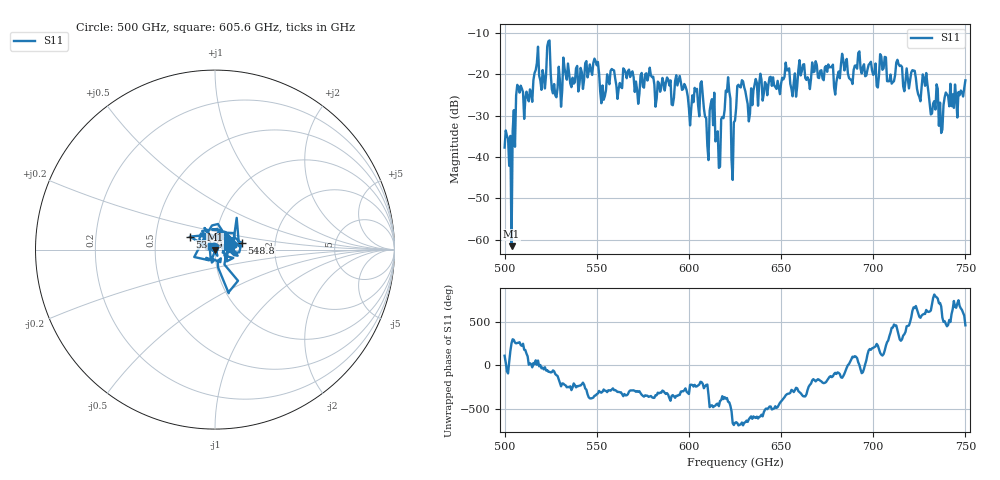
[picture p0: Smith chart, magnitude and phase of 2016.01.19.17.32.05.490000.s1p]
!Created with skrf (http://scikit-rf.org).
# GHz S RI R 50.0
!freq ReS11 ImS11
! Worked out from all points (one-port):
!   401 points, 500 GHz to 750 GHz, reference 50 ohm
!   lowest |S11| = -61.5 dB at 503.8 GHz (marker M1), VSWR 1.00, Z = 50 - j0.0803 ohm
!   |S11| at or under -10 dB: start of sweep to end of sweep
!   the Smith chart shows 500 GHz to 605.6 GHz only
!   S11 on the Smith chart (normalised r, x): 500 GHz: 0.99, +0.02; 531.9 GHz: 0.75, +0.11; 548.8 GHz: 1.34, +0.11; 605.6 GHz: 0.95, +0.04
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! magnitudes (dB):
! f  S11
! 500 GHz  -37.7
! 503.8 GHz  -61.5
! 507.5 GHz  -23.1
! 511.9 GHz  -24.2
! 523.8 GHz  -12.1
! 526.9 GHz  -22.4
! 531.2 GHz  -24.0
! 531.9 GHz  -16.0
! 548.8 GHz  -16.3
! 553.1 GHz  -22.7
! 558.8 GHz  -19.0
! 562.5 GHz  -22.1
! 593.8 GHz  -22.7
! 605.6 GHz  -30.2
! 609.4 GHz  -30.6
! 612.5 GHz  -26.0
! 615.6 GHz  -33.8
! 621.2 GHz  -20.8
! 623.8 GHz  -45.5
! 625 GHz  -31.2
! 628.1 GHz  -23.2
! 633.1 GHz  -29.6
! 656.2 GHz  -25.4
! 687.5 GHz  -21.3
! 718.8 GHz  -21.0
! 728.1 GHz  -22.8
! 736.9 GHz  -34.2
! 750 GHz  -21.5
